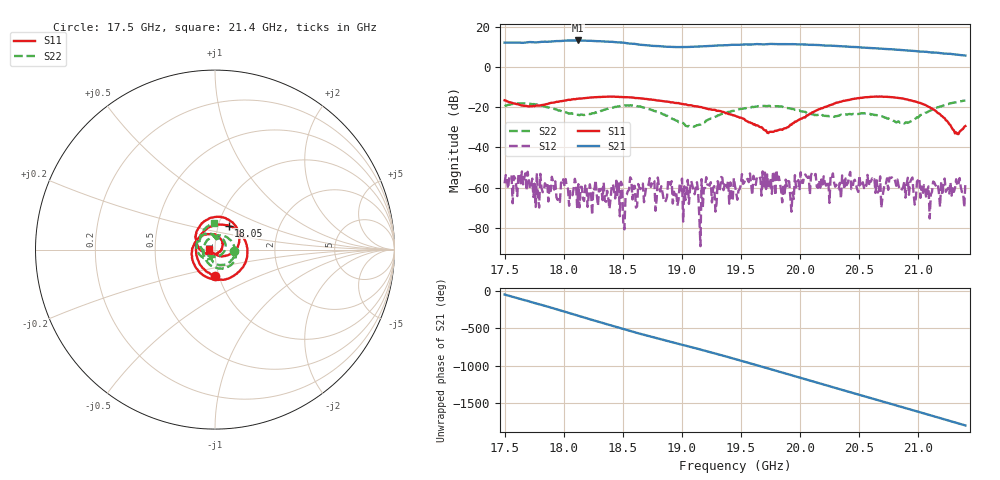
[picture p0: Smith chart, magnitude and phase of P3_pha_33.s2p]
!Created with skrf (http://scikit-rf.org).
# GHz S RI R 50.0
!freq ReS11 ImS11 ReS21 ImS21 ReS12 ImS12 ReS22 ImS22
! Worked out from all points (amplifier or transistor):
!   401 points, 17.5 GHz to 21.4 GHz, reference 50 ohm
!   highest |S21| = 13.3 dB at 18.12 GHz (marker M1)
!   |S21| within 3 dB of that: start of sweep to 18.84 GHz (the widest 1 of 2)
!   unconditionally stable (mu >= 1): start of sweep to end of sweep
!   at 18.14 GHz: K = 100.46, MAG = 13.3 dB, |S12| = -59.5 dB
!   at 19.45 GHz: K = 124.07, MAG = 11.2 dB, |S12| = -59.1 dB
!   at 21.4 GHz: K = 187.09, MAG = 5.8 dB, |S12| = -57.4 dB
!   S11 on the Smith chart (normalised r, x): 17.5 GHz: 0.96, -0.29; 18.05 GHz: 1.12, +0.31; 21.4 GHz: 0.93, +0.01
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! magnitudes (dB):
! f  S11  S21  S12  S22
! 17.5 GHz  -16.5  12.2  -57.8  -19.4
! 18.05 GHz  -16.3  13.2  -69.0  -23.2
! 18.12 GHz  -15.7  13.3  -58.2  -23.7
! 18.15 GHz  -15.6  13.2  -59.6  -23.6
! 18.43 GHz  -14.7  12.4  -61.6  -20.0
! 18.52 GHz  -15.0  12.0  -64.1  -19.1
! 18.55 GHz  -15.0  11.7  -61.1  -19.1
! 18.81 GHz  -16.6  10.4  -59.4  -22.7
! 19.09 GHz  -19.2  10.1  -58.9  -29.6
! 19.16 GHz  -19.9  10.3  -89.1  -28.6
! 19.23 GHz  -20.9  10.5  -58.5  -26.0
! 19.27 GHz  -21.3  10.6  -59.2  -25.0
! 19.32 GHz  -21.9  10.8  -60.7  -23.7
! 19.45 GHz  -24.2  11.1  -59.1  -21.5
! 19.74 GHz  -32.2  11.5  -60.1  -19.2
! 19.93 GHz  -28.7  11.4  -72.0  -20.8
! 20.1 GHz  -22.5  11.1  -52.4  -23.5
! 20.68 GHz  -14.7  9.2  -54.4  -24.3
! 20.76 GHz  -14.9  8.9  -55.0  -25.8
! 21.09 GHz  -19.8  7.4  -59.3  -22.1
! 21.15 GHz  -21.7  7.2  -58.7  -20.2
! 21.4 GHz  -29.4  5.7  -57.4  -16.6
